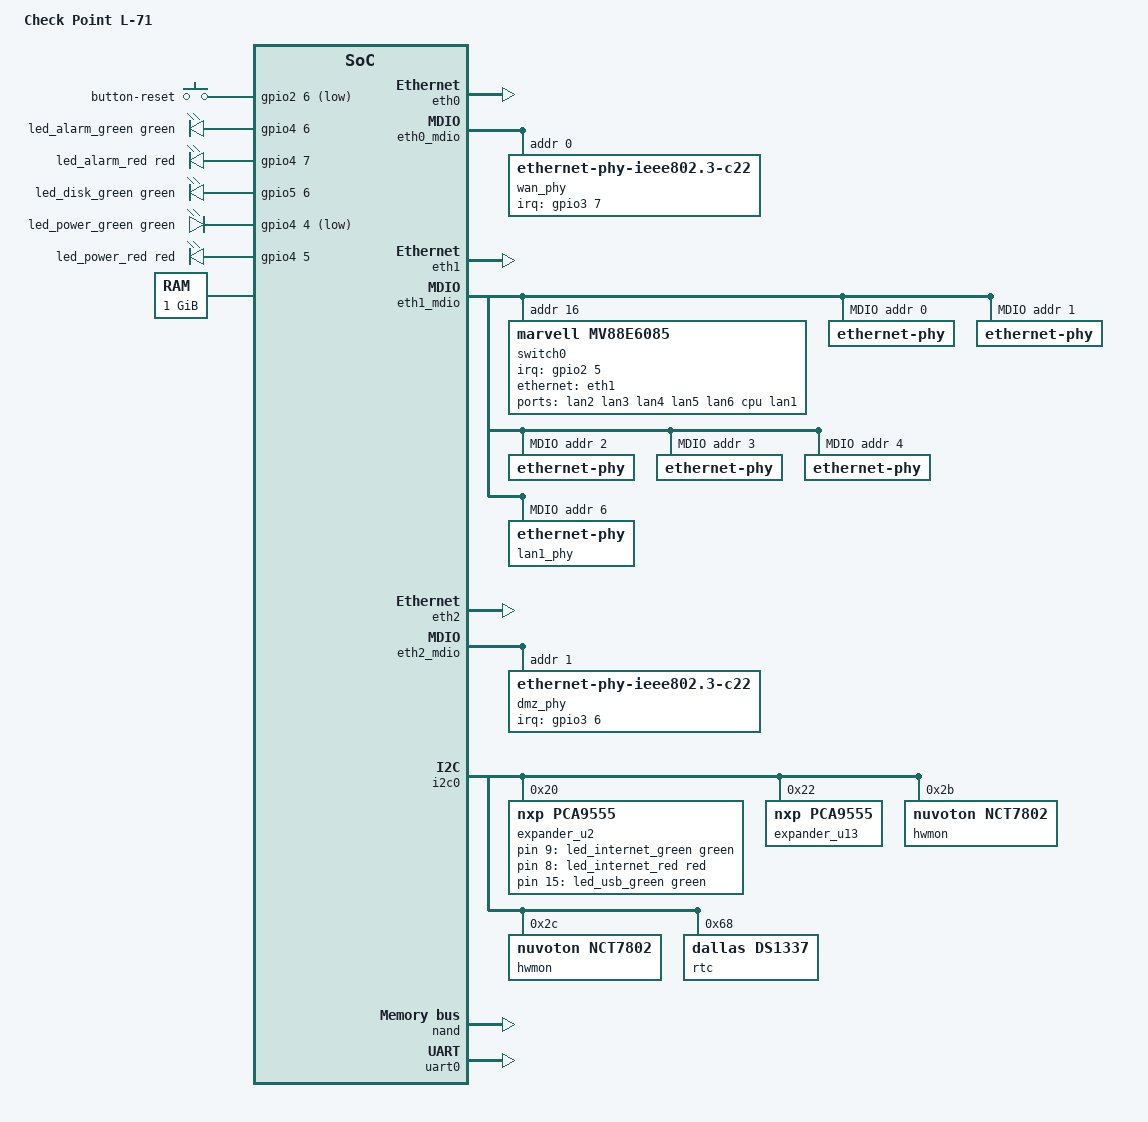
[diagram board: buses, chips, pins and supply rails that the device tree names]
// SPDX-License-Identifier: GPL-2.0-or-later OR MIT

/dts-v1/;
#include "alpine-al21200.dtsi"

#include <dt-bindings/gpio/gpio.h>
#include <dt-bindings/input/input.h>
#include <dt-bindings/interrupt-controller/irq.h>
#include <dt-bindings/leds/common.h>

/ {
	model = "Check Point L-71";
	compatible = "checkpoint,l-71", "annapurna-labs,alpine";

	aliases {
		led-boot = &led_alarm_green;
		led-failsafe = &led_alarm_red;
		led-running = &led_power_green;
		led-upgrade = &led_disk_green;
		serial0 = &uart0;
	};

	keys {
		compatible = "gpio-keys";

		button-reset {
			linux,code = <KEY_RESTART>;
			debounce-interval = <60>;
			gpios = <&gpio2 6 GPIO_ACTIVE_LOW>;
		};
	};

	leds {
		compatible = "gpio-leds";

		led_alarm_green: alarm-green {
			function = LED_FUNCTION_ALARM;
			color = <LED_COLOR_ID_GREEN>;
			gpios = <&gpio4 6 GPIO_ACTIVE_HIGH>;
		};

		led_alarm_red: alarm-red {
			function = LED_FUNCTION_ALARM;
			color = <LED_COLOR_ID_RED>;
			gpios = <&gpio4 7 GPIO_ACTIVE_HIGH>;
		};

		led_disk_green: disk-green {
			function = LED_FUNCTION_DISK;
			color = <LED_COLOR_ID_GREEN>;
			gpios = <&gpio5 6 GPIO_ACTIVE_HIGH>;
		};

		led_internet_green: internet-green {
			function = LED_FUNCTION_WAN;
			color = <LED_COLOR_ID_GREEN>;
			gpios = <&expander_u2 9 GPIO_ACTIVE_HIGH>;
		};

		led_internet_red: internet-red {
			function = LED_FUNCTION_WAN;
			color = <LED_COLOR_ID_RED>;
			gpios = <&expander_u2 8 GPIO_ACTIVE_HIGH>;
		};

		led_power_green: power-green {
			function = LED_FUNCTION_POWER;
			color = <LED_COLOR_ID_GREEN>;
			gpios = <&gpio4 4 GPIO_ACTIVE_LOW>;
		};

		led_power_red: power-red {
			function = LED_FUNCTION_POWER;
			color = <LED_COLOR_ID_RED>;
			gpios = <&gpio4 5 GPIO_ACTIVE_HIGH>;
		};

		led_usb_green: usb-green {
			function = LED_FUNCTION_USB;
			color = <LED_COLOR_ID_GREEN>;
			gpios = <&expander_u2 15 GPIO_ACTIVE_HIGH>;
		};
	};

	memory@0 {
		device_type = "memory";
		reg = <0x0 0x0 0x0 0x40000000>;
	};
};

&eth0 {
	status = "okay";
	al,media-type = <3>;
	al,serdes-grp = <3>;
	al,serdes-lane = <3>;
	al,mdio-freq = <1>;
};

&eth0_mdio {
	wan_phy: ethernet-phy@0 {
		compatible = "ethernet-phy-ieee802.3-c22";
		reg = <0>;
		interrupt-parent = <&gpio3>;
		interrupts = <7 IRQ_TYPE_LEVEL_LOW>;
	};
};

&eth1 {
	status = "okay";
	al,media-type = <1>;
	al,mdio-freq = <0>;
	al,an-disable;
};

&eth1_mdio {
	switch0: switch@10 {
		compatible = "marvell,mv88e6085";
		reg = <0x10>;
		interrupt-parent = <&gpio2>;
		interrupts = <5 IRQ_TYPE_LEVEL_LOW>;
		interrupt-controller;
		#interrupt-cells = <2>;

		ports {
			#address-cells = <1>;
			#size-cells = <0>;

			port@0 {
				reg = <0>;
				label = "lan2";
			};
			port@1 {
				reg = <1>;
				label = "lan3";
			};
			port@2 {
				reg = <2>;
				label = "lan4";
			};
			port@3 {
				reg = <3>;
				label = "lan5";
			};
			port@4 {
				reg = <4>;
				label = "lan6";
			};
			port@5 {
				reg = <5>;
				label = "cpu";
				ethernet = <&eth1>;
				phy-mode = "rgmii";
				fixed-link {
					speed = <1000>;
					full-duplex;
				};
			};
			port@6 {
				reg = <6>;
				label = "lan1";
				phy-handle = <&lan1_phy>;
				phy-mode = "rgmii";
			};
		};
	};

	mdio {
		#address-cells = <1>;
		#size-cells = <0>;

		ethernet-phy@0 {
			reg = <0>;
		};
		ethernet-phy@1 {
			reg = <1>;
		};
		ethernet-phy@2 {
			reg = <2>;
		};
		ethernet-phy@3 {
			reg = <3>;
		};
		ethernet-phy@4 {
			reg = <4>;
		};
		lan1_phy: ethernet-phy@6 {
			reg = <6>;
		};
	};
};

&eth2 {
	status = "okay";
	al,media-type = <3>;
	al,serdes-grp = <3>;
	al,serdes-lane = <1>;
	al,mdio-freq = <1>;
};

&eth2_mdio {
	dmz_phy: ethernet-phy@1 {
		compatible = "ethernet-phy-ieee802.3-c22";
		reg = <1>;
		interrupt-parent = <&gpio3>;
		interrupts = <6 IRQ_TYPE_LEVEL_LOW>;
	};
};

&i2c0 {
	status = "okay";

	expander_u2: gpio@20 {
		compatible = "nxp,pca9555";
		reg = <0x20>;
		gpio-controller;
		#gpio-cells = <2>;
	};

	expander_u13: gpio@22 {
		compatible = "nxp,pca9555";
		reg = <0x22>;
		gpio-controller;
		#gpio-cells = <2>;
	};

	hwmon@2b {
		compatible = "nuvoton,nct7802";
		reg = <0x2b>;
	};

	hwmon@2c {
		compatible = "nuvoton,nct7802";
		reg = <0x2c>;
	};

	rtc@68 {
		compatible = "dallas,ds1337";
		reg = <0x68>;
	};
};

&nand {
	status = "okay";

	partitions {
		compatible = "fixed-partitions";
		#address-cells = <1>;
		#size-cells = <1>;

		partition@0 {
			label = "u-boot";
			reg = <0x00000000 0x00280000>;
			read-only;
		};

		partition@280000 {
			label = "u-boot-env";
			reg = <0x00280000 0x00080000>;
		};

		partition@300000 {
			label = "checkpoint-settings";
			reg = <0x00300000 0x00080000>;
			read-only;
		};

		partition@380000 {
			label = "kernel";
			reg = <0x00380000 0x01000000>;
		};

		partition@1380000 {
			label = "ubi";
			reg = <0x01380000 0x3ec80000>;
		};
	};
};

&uart0 {
	status = "okay";
};
